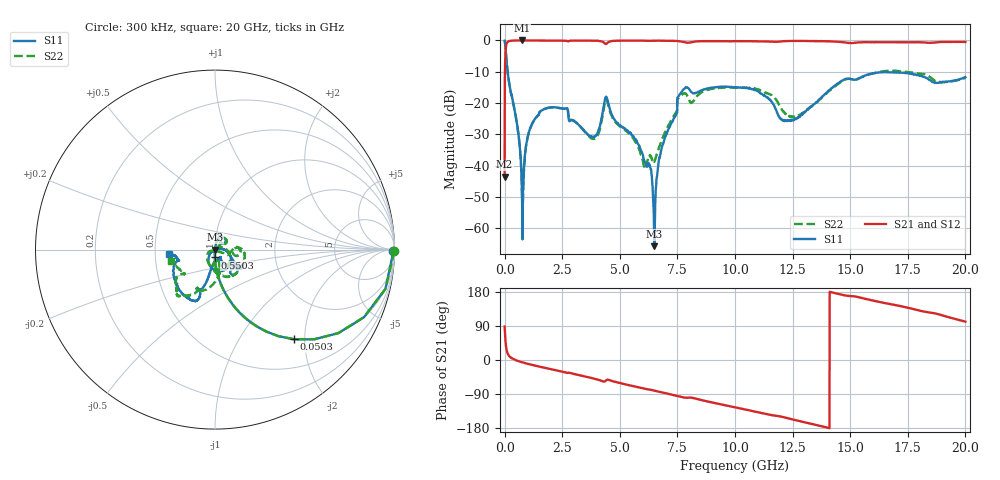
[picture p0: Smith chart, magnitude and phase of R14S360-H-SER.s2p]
!{R14S360}
!Johanson Technology Inc.
!www.johansontechnology.com
!Test Board Conditions:
!Substrate Type  RO4350B
!Substrate Thickness  20 mil
!Substrate Dk  3.66
!TL Type: GCPW
!TL Trace Width  36 mil
!TL Gap  12 mil
!Electrode orientation  Horizontal
!DUT TOPOLOGY	SERIES
!Mounting Pad LxW  26x36 mil
! Created Wed Nov 25 17:33:21 2020
! 2 Port Network Data from SP1.SP block
! freq  magS11  angS11  magS21  angS21  magS12  angS12  magS22  angS22
# khz S ma R 50
! decimated to every 10th point (10 MHz spacing) of the original 1 MHz Johanson file; values unchanged
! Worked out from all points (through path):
!   2001 points, 300 kHz to 20 GHz, reference 50 ohm
!   highest |S21| = 0.00 dB at 760.3 MHz (marker M1); lowest = -43.5 dB at 300 kHz (marker M2)
!   group delay of S21, straight-line fit = 36.1 ps
!   lowest |S11| = -65.7 dB at 6.5 GHz (marker M3), VSWR 1.00, Z = 50 - j0.0502 ohm
!   |S11| at or under -10 dB: 131.8 MHz to end of sweep
!   |S22| runs from -63.5 to 0.0 dB; largest |S21 - S12| = 0.018
!   S11 on the Smith chart (normalised r, x): 300 kHz: open; 50.3 MHz: 0.99, -1.78; 550.3 MHz: 0.99, -0.09; 20 GHz: 0.59, -0.03
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300  0.9941 -0.6  0.00666 88.3  0.006516 89.6  0.9985 -0.5
50300  0.6661 -48.6  0.743 41.4  0.7448 41.3  0.6669 -48.5
130300  0.3197 -72.4  0.9465 17.6  0.9463 17.5  0.3209 -72.3
550300  0.04361 -91.7  0.9987 -1.9  0.9987 -1.9  0.04395 -91.5
760300  0.002671 -98.3  0.9999 -6.1  0.9983 -6.0  0.003163 -84.3
1070300  0.03585 78.3  0.9987 -11.1  0.9982 -11.1  0.03564 77.8
1600300  0.07592 73.3  0.9959 -18.7  0.9959 -18.7  0.07588 68.7
2650300  0.08194 56.2  0.99 -33.0  0.9898 -33.0  0.0824 50.5
3340300  0.04031 46.9  0.9961 -41.4  0.9958 -41.4  0.03975 45.8
3960300  0.03 19.2  0.9912 -50.3  0.9916 -50.4  0.02792 37.5
4440300  0.1209 -83.5  0.8965 -52.3  0.8969 -52.3  0.1108 -84.4
6070300  0.0116 -139.7  0.9907 -75.6  0.9913 -75.5  0.009552 -130.0
6280300  0.01051 -116.9  0.9841 -78.1  0.9852 -78.1  0.01435 -90.1
6500300  0.0005188 -104.8  0.9912 -80.9  0.9911 -80.9  0.01154 -67.2
6670300  0.009982 17.9  0.9921 -83.2  0.9921 -83.2  0.01782 -37.6
7780300  0.1675 -41.4  0.9469 -99.0  0.946 -99.0  0.1425 -4.8
1.00003e7  0.1787 -30.9  0.9725 -124.7  0.9722 -124.7  0.1763 -43.3
1.21003e7  0.05322 -53.1  0.971 -150.8  0.9727 -150.8  0.0727 -94.8
1.33403e7  0.09011 -98.9  0.9767 -168.9  0.979 -168.9  0.08876 -73.5
1.47503e7  0.2382 -110.2  0.9304 170.7  0.9315 170.6  0.2333 -104.9
1.66703e7  0.3091 -117.1  0.9357 148.3  0.9273 148.1  0.3307 -128.3
2e7  0.2586 -174.9  0.9467 101.2  0.9465 101.4  0.2519 -165.2
